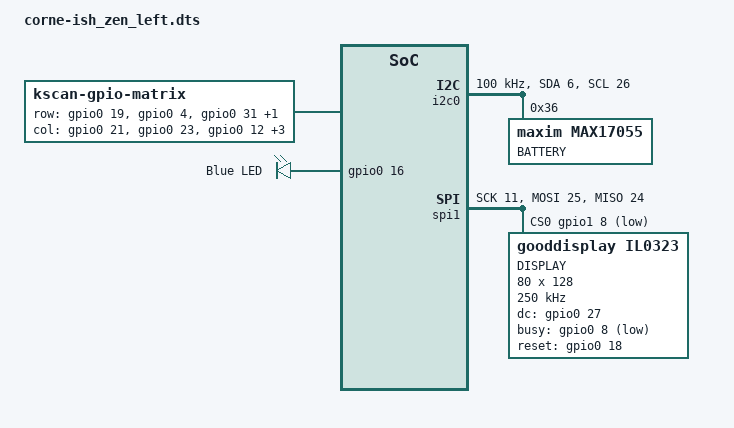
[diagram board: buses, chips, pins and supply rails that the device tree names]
/*
 * Copyright (c) 2020 Darryl deHaan
 *
 * SPDX-License-Identifier: MIT
 */

#include "corne-ish_zen.dtsi"

/{
	kscan0: kscan {
		compatible = "zmk,kscan-gpio-matrix";
		label = "KSCAN";

		diode-direction = "col2row";
		row-gpios
			= <&gpio0 19 (GPIO_ACTIVE_HIGH | GPIO_PULL_DOWN)>
			, <&gpio0 4 (GPIO_ACTIVE_HIGH | GPIO_PULL_DOWN)>
			, <&gpio0 31 (GPIO_ACTIVE_HIGH | GPIO_PULL_DOWN)>
			, <&gpio0 30 (GPIO_ACTIVE_HIGH | GPIO_PULL_DOWN)>
			;

		col-gpios
			= <&gpio0 21 GPIO_ACTIVE_HIGH>
			, <&gpio0 23 GPIO_ACTIVE_HIGH>
			, <&gpio0 12 GPIO_ACTIVE_HIGH>
			, <&gpio1  9 GPIO_ACTIVE_HIGH>
			, <&gpio0  7 GPIO_ACTIVE_HIGH>
			, <&gpio0  5 GPIO_ACTIVE_HIGH>
			;	
	};

	leds {
		compatible = "gpio-leds";
		blue_led: led_0 {
			gpios = <&gpio0 16 GPIO_ACTIVE_HIGH>;
			label = "Blue LED";
		};
	};

};

&i2c0 {
	status = "ok";
	compatible = "nordic,nrf-twim";
	sda-pin = <6>;
	scl-pin = <26>;
	clock-frequency = <100000>; 

	fuelgauge: max17055@36 {
		compatible = "maxim,max17055";
		label = "BATTERY";
		reg = <0x36>;
		design-voltage = <3700>;
		desired-voltage = <4100>;
		desired-charging-current = <180>;
		rsense-mohms = <10>;
	};
};

&spi1  {
	status = "okay";
	compatible = "nordic,nrf-spim";
	sck-pin = <11>;
	mosi-pin = <25>;
	miso-pin = <24>;
	cs-gpios = <&gpio1  8 GPIO_ACTIVE_LOW>;

	epd: il0323@0 {
		compatible = "gooddisplay,il0323";
		reg =  <0>;
		label = "DISPLAY";
		width = <80>;
		height = <128>;
		spi-max-frequency = <250000>;
		dc-gpios = <&gpio0 27 GPIO_ACTIVE_HIGH>;
		busy-gpios = <&gpio0  8 GPIO_ACTIVE_LOW>;
		reset-gpios = <&gpio0 18 GPIO_ACTIVE_HIGH>;
		pwr = [03 00 26 26];
		softstart = [17 17 17 17];
		cdi = <0xd2>;
		tcon = <0x22>;
	};
};


//&bt_unpair_combo {
//	key-positions = <0 38>;
//};
